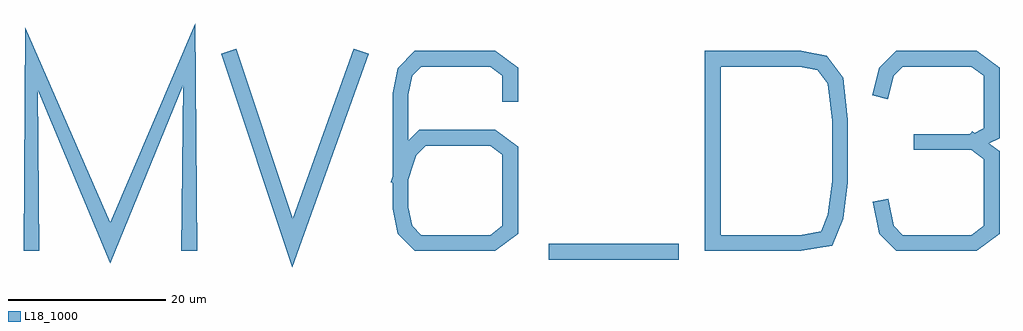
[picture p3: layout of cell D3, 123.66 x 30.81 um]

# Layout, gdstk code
import gdstk
lib = gdstk.Library(unit=1e-6, precision=1e-09)
L18_1000 = (18, 1000)

c_d3 = lib.new_cell('D3')
c_d3.add(gdstk.FlexPath([(-480.012,-306.995),(-480.012,-283.662),(-470.012,-306.995),(-460.012,-283.107),(-460.012,-306.995)], 2, ends="extended", simple_path=True, layer=18, datatype=1000))  # L18_1000
c_d3.add(gdstk.FlexPath([(-454.679,-283.662),(-446.902,-306.995),(-438.568,-283.662)], 2, ends="extended", simple_path=True, layer=18, datatype=1000))  # L18_1000
c_d3.add(gdstk.FlexPath([(-419.347,-288.107),(-419.347,-285.329),(-421.569,-283.662),(-431.013,-283.662),(-432.68,-285.329),(-433.235,-288.107),(-433.235,-302.551),(-432.68,-305.329),(-431.013,-306.995),(-421.569,-306.995),(-419.347,-305.329),(-419.347,-295.329),(-421.569,-293.662),(-430.458,-293.662),(-432.124,-295.329),(-433.235,-298.662)], 2, ends="extended", simple_path=True, layer=18, datatype=1000))  # L18_1000
c_d3.add(gdstk.FlexPath([(-413.458,-308.106),(-399.014,-308.106)], 2, ends="extended", simple_path=True, layer=18, datatype=1000))  # L18_1000
c_d3.add(gdstk.FlexPath([(-393.681,-306.995),(-393.681,-283.662),(-382.57,-283.662),(-379.793,-284.218),(-378.126,-286.44),(-377.57,-291.44),(-377.57,-299.218),(-378.126,-303.662),(-379.237,-306.44),(-382.57,-306.995),(-393.681,-306.995)], 2, ends="extended", simple_path=True, layer=18, datatype=1000))  # L18_1000
c_d3.add(gdstk.FlexPath([(-372.237,-287.551),(-371.682,-285.329),(-370.015,-283.662),(-360.571,-283.662),(-358.349,-285.329),(-358.349,-293.107),(-360.571,-294.218),(-367.237,-294.218)], 2, ends="extended", simple_path=True, layer=18, datatype=1000))  # L18_1000
c_d3.add(gdstk.FlexPath([(-360.571,-294.218),(-358.349,-295.884),(-358.349,-305.329),(-360.571,-306.995),(-370.015,-306.995),(-371.682,-305.329),(-372.237,-302.551)], 2, ends="extended", simple_path=True, layer=18, datatype=1000))  # L18_1000

lib.write_gds('D3.gds')
